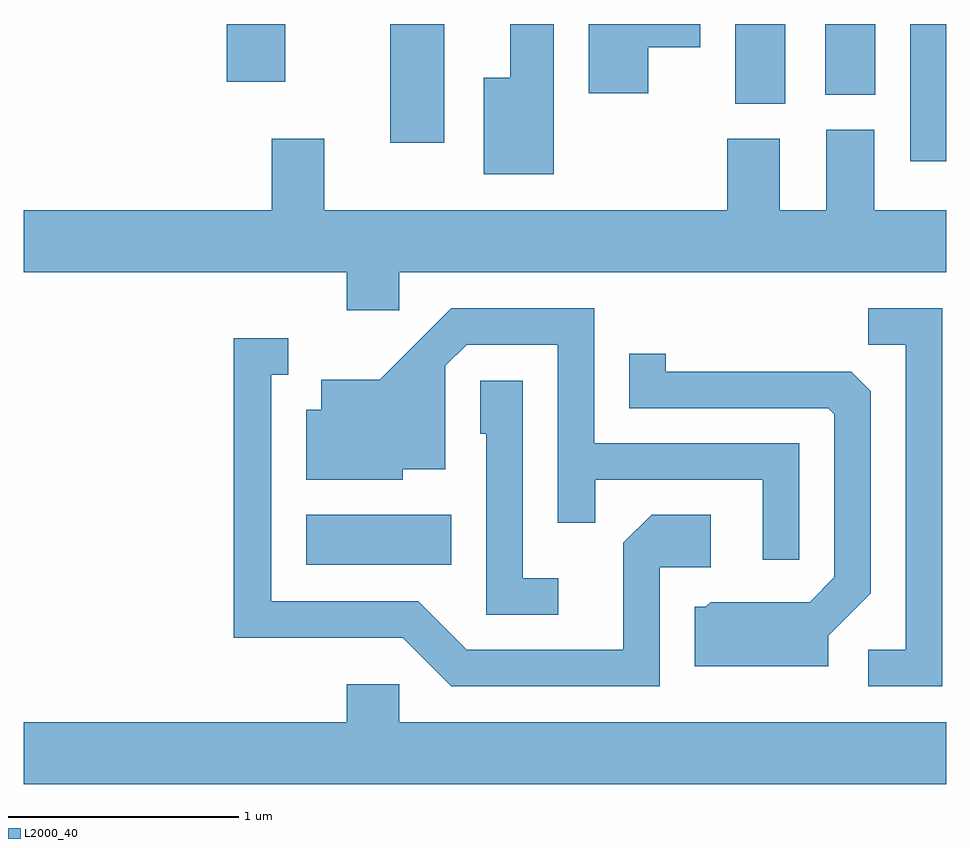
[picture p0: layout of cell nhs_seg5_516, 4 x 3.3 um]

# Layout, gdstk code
import gdstk
lib = gdstk.Library(unit=1e-6, precision=1e-09)
def R(c, l, rs):  # rectangles x0, y0, x1, y1
    for r in rs: c.add(gdstk.rectangle(r[:2], r[2:], *l))
def P(c, l, *ps):  # polygons
    for p in ps: c.add(gdstk.Polygon(p, *l))
L2000_40 = (2000, 40)

nhs_seg5_516 = lib.new_cell('nhs_seg5_516')
R(nhs_seg5_516, L2000_40, [(200.836,1477.726,201.464,1477.944), (203.456,1479.476,203.611,1480.072), (201.201,1479.556,201.434,1480.072), (202.696,1479.726,202.914,1480.072), (203.086,1479.766,203.304,1480.072), (200.491,1479.821,200.744,1480.072)])
P(nhs_seg5_516, L2000_40, [(202.319,1479.971),(202.544,1479.971),(202.544,1480.072),(202.061,1480.072),(202.061,1479.771),(202.319,1479.771)],
  [(201.909,1480.072),(201.721,1480.072),(201.721,1479.839),(201.606,1479.839),(201.606,1479.421),(201.909,1479.421)],
  [(201.239,1478.996),(203.611,1478.996),(203.611,1479.264),(203.299,1479.264),(203.299,1479.614),(203.091,1479.614),(203.091,1479.264),(202.889,1479.264),(202.889,1479.574),(202.661,1479.574),(202.661,1479.264),(200.914,1479.264),(200.914,1479.574),(200.686,1479.574),(200.686,1479.264),(199.611,1479.264),(199.611,1478.996),(201.011,1478.996),(201.011,1478.831),(201.239,1478.831)],
  [(203.594,1478.839),(203.273,1478.839),(203.273,1478.681),(203.436,1478.681),(203.436,1477.359),(203.273,1477.359),(203.273,1477.201),(203.594,1477.201)],
  [(202.974,1478.254),(202.084,1478.254),(202.084,1478.839),(201.464,1478.839),(201.154,1478.529),(200.901,1478.529),(200.901,1478.399),(200.836,1478.399),(200.836,1478.096),(201.254,1478.096),(201.254,1478.141),(201.439,1478.141),(201.439,1478.589),(201.532,1478.681),(201.926,1478.681),(201.926,1477.908),(202.089,1477.908),(202.089,1478.096),(202.816,1478.096),(202.816,1477.748),(202.974,1477.748)],
  [(202.369,1477.716),(202.589,1477.716),(202.589,1477.944),(202.334,1477.944),(202.211,1477.822),(202.211,1477.359),(201.532,1477.359),(201.322,1477.569),(200.684,1477.569),(200.684,1478.551),(200.758,1478.551),(200.758,1478.709),(200.521,1478.709),(200.521,1477.411),(201.254,1477.411),(201.464,1477.201),(202.369,1477.201)],
  [(203.099,1477.419),(203.284,1477.604),(203.284,1478.479),(203.199,1478.564),(202.394,1478.564),(202.394,1478.643),(202.236,1478.643),(202.236,1478.406),(203.099,1478.406),(203.126,1478.379),(203.126,1477.672),(203.019,1477.564),(202.589,1477.564),(202.569,1477.544),(202.521,1477.544),(202.521,1477.286),(203.099,1477.286)],
  [(201.928,1477.669),(201.774,1477.669),(201.774,1478.524),(201.591,1478.524),(201.591,1478.296),(201.616,1478.296),(201.616,1477.511),(201.928,1477.511)],
  [(203.611,1477.044),(201.239,1477.044),(201.239,1477.209),(201.011,1477.209),(201.011,1477.044),(199.611,1477.044),(199.611,1476.776),(203.611,1476.776)])

lib.write_gds('nhs_seg5_516.gds')
